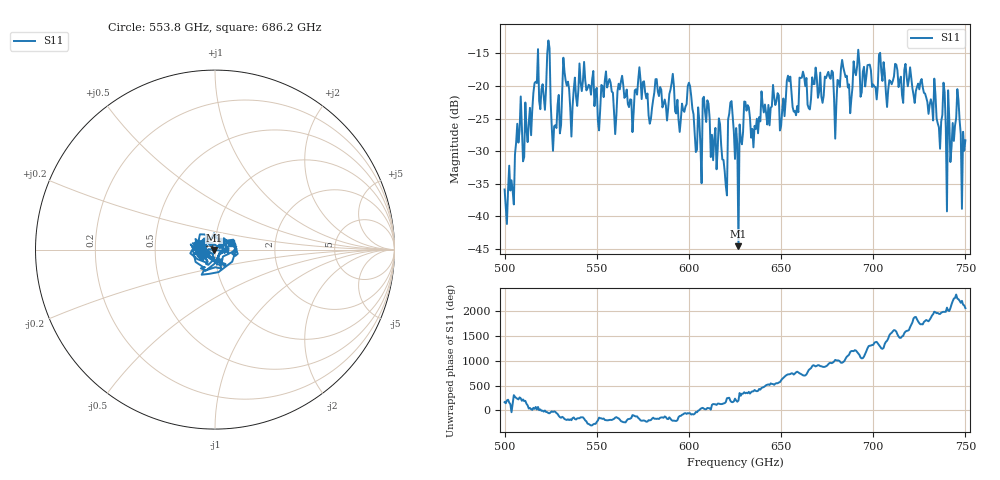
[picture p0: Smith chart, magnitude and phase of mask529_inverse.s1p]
!Created with skrf (http://scikit-rf.org).
# GHz S MA R 50.0
!freq magS11 angS11
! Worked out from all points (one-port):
!   401 points, 500 GHz to 750 GHz, reference 50 ohm
!   lowest |S11| = -44.6 dB at 626.9 GHz (marker M1), VSWR 1.01, Z = 49.4 - j0.196 ohm
!   |S11| at or under -10 dB: start of sweep to end of sweep
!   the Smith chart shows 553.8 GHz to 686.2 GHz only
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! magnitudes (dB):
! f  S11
! 500 GHz  -35.9
! 516.9 GHz  -19.3
! 520.6 GHz  -19.7
! 523.8 GHz  -13.0
! 526.9 GHz  -26.2
! 531.2 GHz  -20.6
! 560 GHz  -27.4
! 562.5 GHz  -20.5
! 579.4 GHz  -25.1
! 590.6 GHz  -19.5
! 593.8 GHz  -22.1
! 600.6 GHz  -20.0
! 605.6 GHz  -25.3
! 609.4 GHz  -25.5
! 619.4 GHz  -33.0
! 622.5 GHz  -22.5
! 625 GHz  -31.2
! 626.9 GHz  -44.6
! 631.2 GHz  -23.8
! 635 GHz  -29.4
! 656.2 GHz  -23.2
! 676.9 GHz  -18.9
! 680 GHz  -22.8
! 683.8 GHz  -17.2
! 687.5 GHz  -24.2
! 690.6 GHz  -18.4
! 718.8 GHz  -20.0
! 750 GHz  -28.3
